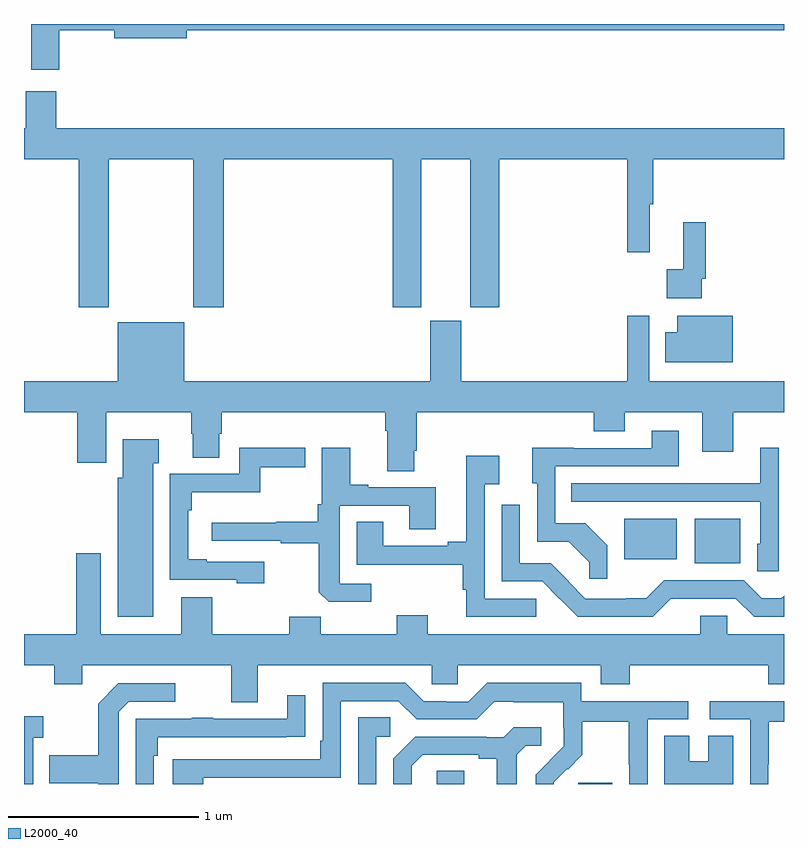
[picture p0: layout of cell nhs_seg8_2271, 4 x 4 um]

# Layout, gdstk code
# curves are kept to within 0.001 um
import gdstk
lib = gdstk.Library(unit=1e-6, precision=1e-09)
def R(c, l, rs):  # rectangles x0, y0, x1, y1
    for r in rs: c.add(gdstk.rectangle(r[:2], r[2:], *l))
def P(c, l, *ps):  # polygons
    for p in ps: c.add(gdstk.Polygon(p, *l))
L2000_40 = (2000, 40)

nhs_seg8_2271 = lib.new_cell('nhs_seg8_2271')
R(nhs_seg8_2271, L2000_40, [(257.172,1091.9,257.317,1091.969), (257.918,1091.9,258.097,1091.907), (258.53,1093.061,258.769,1093.297), (258.158,1093.082,258.436,1093.297)])
P(nhs_seg8_2271, L2000_40, [(255.185,1095.868),(255.476,1095.868),(255.476,1095.826),(255.856,1095.826),(255.856,1095.868),(259,1095.868),(259,1095.9),(255.038,1095.9),(255.038,1095.66),(255.185,1095.66)],
  [(255.447,1095.188),(255.892,1095.188),(255.892,1094.409),(256.052,1094.409),(256.052,1095.188),(256.94,1095.188),(256.94,1094.409),(257.092,1094.409),(257.092,1095.188),(257.348,1095.188),(257.348,1094.409),(257.501,1094.409),(257.501,1095.188),(258.175,1095.188),(258.175,1094.7),(258.293,1094.7),(258.293,1094.952),(258.311,1094.952),(258.311,1095.188),(259,1095.188),(259,1095.352),(255.17,1095.352),(255.17,1095.547),(255.01,1095.547),(255.01,1095.352),(255,1095.352),(255,1095.188),(255.287,1095.188),(255.287,1094.409),(255.447,1094.409)],
  [(258.567,1094.56),(258.587,1094.56),(258.587,1094.857),(258.47,1094.857),(258.47,1094.609),(258.384,1094.609),(258.384,1094.456),(258.567,1094.456)],
  [(257.053,1093.654),(257.066,1093.654),(257.066,1093.856),(257.999,1093.856),(257.999,1093.757),(258.163,1093.757),(258.163,1093.856),(258.569,1093.856),(258.569,1093.65),(258.733,1093.65),(258.733,1093.856),(259,1093.856),(259,1094.02),(258.291,1094.02),(258.291,1094.365),(258.175,1094.365),(258.175,1094.02),(257.302,1094.02),(257.302,1094.337),(257.138,1094.337),(257.138,1094.02),(255.844,1094.02),(255.844,1094.329),(255.494,1094.329),(255.494,1094.02),(255,1094.02),(255,1093.856),(255.281,1093.856),(255.281,1093.59),(255.433,1093.59),(255.433,1093.856),(255.88,1093.856),(255.88,1093.743),(255.887,1093.743),(255.887,1093.618),(256.027,1093.618),(256.027,1093.743),(256.04,1093.743),(256.04,1093.856),(256.901,1093.856),(256.901,1093.76),(256.913,1093.76),(256.913,1093.546),(257.053,1093.546)],
  [(258.73,1094.365),(258.437,1094.365),(258.437,1094.278),(258.376,1094.278),(258.376,1094.12),(258.73,1094.12)],
  [(258.069,1093.156),(257.953,1093.272),(257.796,1093.272),(257.796,1093.572),(258.445,1093.572),(258.445,1093.759),(258.305,1093.759),(258.305,1093.668),(257.893,1093.668),(257.893,1093.67),(257.675,1093.67),(257.675,1093.482),(257.7,1093.482),(257.7,1093.176),(257.866,1093.176),(257.974,1093.068),(257.974,1092.981),(258.069,1092.981)],
  [(255.679,1093.589),(255.709,1093.589),(255.709,1093.714),(255.521,1093.714),(255.521,1093.512),(255.494,1093.512),(255.494,1092.779),(255.679,1092.779)],
  [(256.264,1093.071),(255.961,1093.071),(255.961,1093.084),(255.864,1093.084),(255.864,1093.34),(255.884,1093.34),(255.884,1093.436),(256.243,1093.436),(256.243,1093.567),(256.48,1093.567),(256.48,1093.67),(256.134,1093.67),(256.134,1093.533),(255.768,1093.533),(255.768,1092.975),(256.119,1092.975),(256.119,1092.956),(256.264,1092.956)],
  [(258.972,1093.669),(258.875,1093.669),(258.875,1093.483),(258.541,1093.483),(258.541,1093.482),(257.881,1093.482),(257.881,1093.386),(258.876,1093.386),(258.876,1093.164),(258.86,1093.164),(258.86,1093.021),(258.972,1093.021)],
  [(256.828,1092.954),(256.662,1092.954),(256.662,1093.365),(257.027,1093.365),(257.027,1093.24),(257.167,1093.24),(257.167,1093.461),(256.813,1093.461),(256.813,1093.474),(256.717,1093.474),(256.717,1093.669),(256.566,1093.669),(256.566,1093.372),(256.546,1093.372),(256.546,1093.28),(256.327,1093.28),(256.327,1093.276),(255.987,1093.276),(255.987,1093.179),(256.351,1093.179),(256.351,1093.167),(256.551,1093.167),(256.551,1092.909),(256.603,1092.858),(256.828,1092.858)],
  [(257.697,1092.876),(257.424,1092.876),(257.424,1093.478),(257.5,1093.478),(257.5,1093.627),(257.327,1093.627),(257.327,1093.175),(257.231,1093.175),(257.231,1093.155),(256.891,1093.155),(256.891,1093.28),(256.751,1093.28),(256.751,1093.054),(257.308,1093.054),(257.308,1092.923),(257.327,1092.923),(257.327,1092.78),(257.697,1092.78)],
  [(258.404,1092.875),(258.747,1092.876),(258.843,1092.78),(259,1092.78),(259,1092.892),(258.985,1092.877),(258.884,1092.877),(258.789,1092.972),(258.369,1092.972),(258.275,1092.878),(258.17,1092.878),(258.17,1092.876),(257.955,1092.876),(257.865,1092.966),(257.867,1092.968),(257.773,1093.062),(257.61,1093.062),(257.61,1093.369),(257.514,1093.369),(257.514,1092.966),(257.727,1092.966),(257.915,1092.78),(258.309,1092.78)],
  [(257.145,1092.426),(257.283,1092.426),(257.283,1092.524),(258.035,1092.524),(258.035,1092.425),(258.188,1092.425),(258.188,1092.524),(258.916,1092.524),(258.916,1092.425),(259,1092.425),(259,1092.688),(258.702,1092.688),(258.702,1092.786),(258.56,1092.786),(258.56,1092.688),(257.125,1092.688),(257.125,1092.787),(256.961,1092.787),(256.961,1092.688),(256.561,1092.688),(256.561,1092.781),(256.397,1092.781),(256.397,1092.688),(255.991,1092.688),(255.991,1092.883),(255.827,1092.883),(255.827,1092.688),(255.403,1092.688),(255.403,1093.114),(255.275,1093.114),(255.275,1092.688),(255,1092.688),(255,1092.524),(255.16,1092.524),(255.16,1092.425),(255.307,1092.425),(255.307,1092.524),(256.091,1092.524),(256.091,1092.33),(256.231,1092.33),(256.231,1092.524),(257.145,1092.524)],
  [(255.944,1091.934),(256.668,1091.934),(256.668,1092.336),(256.971,1092.336),(257.067,1092.24),(257.382,1092.24),(257.475,1092.333),(257.575,1092.333),(257.575,1092.329),(257.838,1092.329),(257.838,1092.195),(257.84,1092.195),(257.84,1092.098),(257.694,1091.95),(257.694,1091.9),(257.789,1091.9),(257.789,1091.909),(257.859,1091.979),(257.862,1091.976),(257.939,1092.053),(257.939,1092.228),(258.184,1092.228),(258.184,1092.004),(258.186,1092.004),(258.186,1091.9),(258.282,1091.9),(258.282,1092.24),(258.496,1092.24),(258.496,1092.336),(257.934,1092.336),(257.934,1092.433),(257.437,1092.433),(257.337,1092.333),(257.222,1092.333),(257.222,1092.336),(257.103,1092.336),(257.007,1092.432),(256.572,1092.432),(256.572,1092.127),(256.559,1092.127),(256.559,1092.03),(255.783,1092.03),(255.783,1091.9),(255.944,1091.9)],
  [(255.498,1092.279),(255.552,1092.333),(255.796,1092.333),(255.796,1092.429),(255.495,1092.429),(255.39,1092.323),(255.39,1092.051),(255.133,1092.051),(255.133,1091.903),(255.39,1091.903),(255.39,1091.9),(255.498,1091.9)],
  [(255.684,1092.05),(255.704,1092.05),(255.704,1092.147),(256.379,1092.147),(256.379,1092.148),(256.481,1092.148),(256.481,1092.367),(256.385,1092.367),(256.385,1092.243),(255.995,1092.243),(255.995,1092.248),(255.883,1092.248),(255.883,1092.243),(255.588,1092.243),(255.588,1091.9),(255.684,1091.9)],
  [(258.918,1092.004),(258.921,1092.004),(258.921,1092.228),(259,1092.228),(259,1092.336),(258.609,1092.336),(258.609,1092.24),(258.822,1092.24),(258.822,1091.9),(258.918,1091.9)],
  [(255.048,1092.143),(255.1,1092.143),(255.1,1092.256),(255,1092.256),(255,1091.9),(255.048,1091.9)],
  [(256.854,1092.15),(256.927,1092.15),(256.927,1092.251),(256.758,1092.251),(256.758,1091.9),(256.854,1091.9)],
  [(257.041,1091.997),(257.098,1092.054),(257.393,1092.054),(257.393,1092.032),(257.489,1092.032),(257.489,1091.9),(257.593,1091.9),(257.593,1092.055),(257.64,1092.102),(257.722,1092.102),(257.722,1092.199),(257.578,1092.199),(257.526,1092.147),(257.432,1092.147),(257.432,1092.15),(257.06,1092.15),(256.944,1092.034),(256.944,1091.9),(257.041,1091.9)],
  [(258.733,1092.155),(258.602,1092.155),(258.602,1092.019),(258.502,1092.019),(258.502,1092.155),(258.371,1092.155),(258.371,1091.9),(258.733,1091.9)])

lib.write_gds('nhs_seg8_2271.gds')
